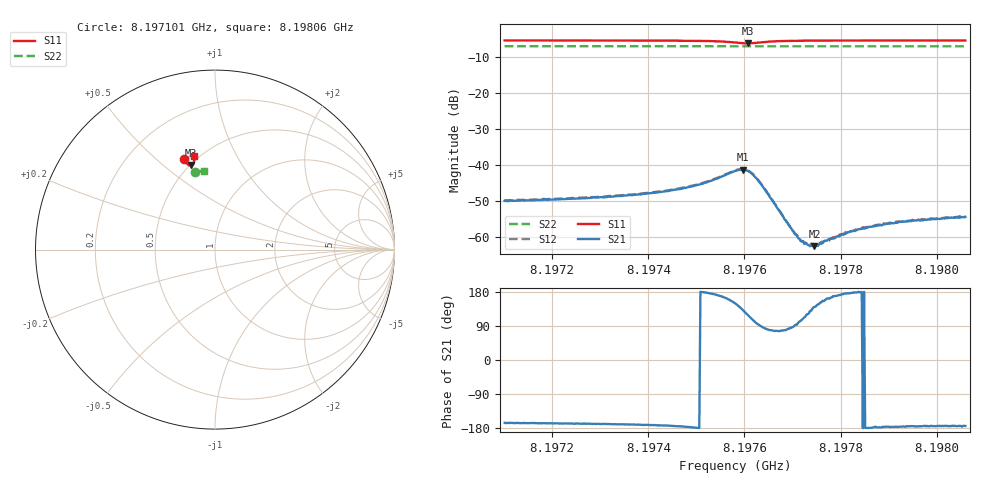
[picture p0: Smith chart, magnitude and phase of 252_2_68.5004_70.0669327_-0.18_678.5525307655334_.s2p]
#  HZ  S  RI  R  50.00
! Rohde & Schwarz Vector Network Analyzer
! Rohde-Schwarz,ZNB20-2Port,1311601062101988,3.16
! Created: UTC 3/20/2024, 5:15:00 PM
! freq[Hz]  re:S11  im:S11  re:S21  im:S21  re:S12  im:S12  re:S22  im:S22
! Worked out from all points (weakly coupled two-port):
!   401 points, 8.197101 GHz to 8.19806 GHz, reference 50 ohm
!   highest |S21| = -41.24 dB at 8.197597 GHz (marker M1); lowest = -62.5 dB at 8.197746 GHz (marker M2)
!   lowest |S11| = -6.2 dB at 8.197607 GHz (marker M3), VSWR 2.90, Z = 25.4 + j31.2 ohm
!   |S11| at or under -10 dB: nowhere
!   |S22| runs from -7.1 to -7.0 dB; largest |S21 - S12| = 0.00043
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8.197101e9  -0.1738 0.5067  -0.00309 -0.000788  -0.00317 -0.00064  -0.1126 0.4315
8.1972615e9  -0.1612 0.5102  -0.00338 -0.000703  -0.0035 -0.000573  -0.1039 0.4334
8.1974221e9  -0.1457 0.5131  -0.00419 -0.000528  -0.00427 -0.000392  -0.0948 0.4352
8.1975084e9  -0.1321 0.5117  -0.00544 9.58e-06  -0.00552 0.000228  -0.0899 0.4359
8.1975803e9  -0.1159 0.4883  -0.00715 0.00418  -0.00712 0.00454  -0.0857 0.4358
8.1975971e9  -0.1229 0.4743  -0.00575 0.00649  -0.00556 0.00683  -0.085 0.4357
8.1976067e9  -0.1323 0.4695  -0.00403 0.00724  -0.00383 0.00754  -0.0848 0.4357
8.1976186e9  -0.1452 0.4706  -0.00177 0.00701  -0.00149 0.00722  -0.0845 0.4359
8.197633e9  -0.1554 0.4792  1.77e-05 0.00559  0.000251 0.00568  -0.0838 0.4362
8.1976881e9  -0.1541 0.5045  0.000262 0.0016  0.000302 0.0016  -0.0806 0.4373
8.1977145e9  -0.1498 0.5091  -0.000184 0.000927  -0.00013 0.000927  -0.0791 0.4376
8.1977241e9  -0.1483 0.5103  -0.000303 0.000747  -0.000272 0.000805  -0.0787 0.4379
8.1977409e9  -0.1459 0.5118  -0.000533 0.000545  -0.000519 0.00061  -0.0777 0.4381
8.1977457e9  -0.1454 0.5122  -0.000574 0.000483  -0.000547 0.000518  -0.0774 0.4381
8.1977576e9  -0.1438 0.5133  -0.000737 0.000398  -0.000696 0.000431  -0.0768 0.4382
8.197772e9  -0.142 0.5141  -0.000856 0.000274  -0.00082 0.000331  -0.0759 0.4384
8.197784e9  -0.1406 0.5148  -0.000934 0.000193  -0.000961 0.000276  -0.0752 0.4384
8.1978176e9  -0.137 0.5164  -0.00117 8.18e-05  -0.0012 0.000139  -0.0732 0.4387
8.1978367e9  -0.135 0.517  -0.00129 3.19e-06  -0.00133 7.51e-05  -0.0722 0.4388
8.1979014e9  -0.129 0.5191  -0.00153 -9.16e-05  -0.00159 -3.52e-05  -0.0686 0.4394
8.1979542e9  -0.1246 0.5203  -0.0017 -0.000153  -0.00175 -7.11e-05  -0.0655 0.4397
8.1980596e9  -0.1162 0.5222  -0.0019 -0.000193  -0.00195 -0.00015  -0.0596 0.4403
